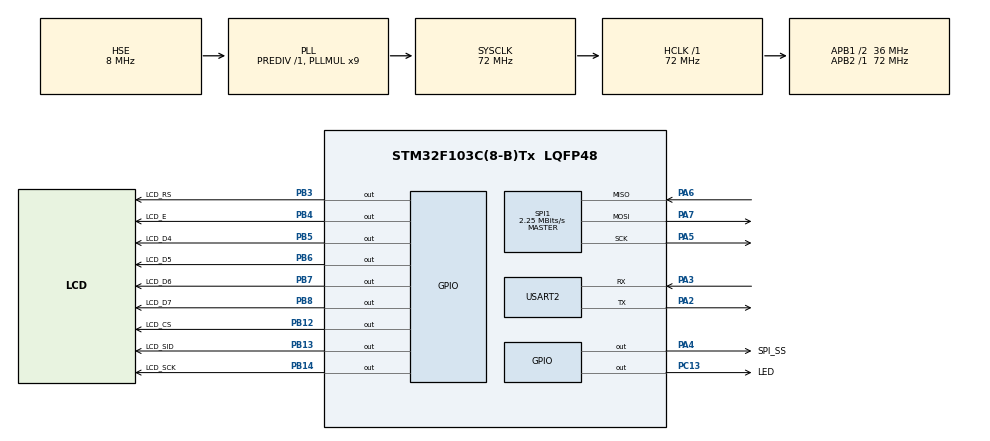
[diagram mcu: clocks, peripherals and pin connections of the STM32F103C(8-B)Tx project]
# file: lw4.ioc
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Dma.Request0=USART2_TX
Dma.Request1=USART2_RX
Dma.USART2_RX.1.Direction=DMA_PERIPH_TO_MEMORY
Dma.USART2_RX.1.Instance=DMA1_Channel6
Dma.USART2_RX.1.MemDataAlignment=DMA_MDATAALIGN_BYTE
Dma.USART2_RX.1.MemInc=DMA_MINC_ENABLE
Dma.USART2_RX.1.Mode=DMA_NORMAL
Dma.USART2_RX.1.PeriphDataAlignment=DMA_PDATAALIGN_BYTE
Dma.USART2_RX.1.PeriphInc=DMA_PINC_DISABLE
Dma.USART2_RX.1.Priority=DMA_PRIORITY_LOW
Dma.USART2_TX.0.Direction=DMA_MEMORY_TO_PERIPH
Dma.USART2_TX.0.Instance=DMA1_Channel7
Dma.USART2_TX.0.MemDataAlignment=DMA_MDATAALIGN_BYTE
Dma.USART2_TX.0.MemInc=DMA_MINC_ENABLE
Dma.USART2_TX.0.Mode=DMA_NORMAL
Dma.USART2_TX.0.PeriphDataAlignment=DMA_PDATAALIGN_BYTE
Dma.USART2_TX.0.PeriphInc=DMA_PINC_DISABLE
Dma.USART2_TX.0.Priority=DMA_PRIORITY_LOW
Mcu.Family=STM32F1
Mcu.Name=STM32F103C(8-B)Tx
Mcu.Package=LQFP48
NVIC.DMA1_Channel6_IRQn=true\:0\:0\:false\:false\:true\:false\:true\:true
NVIC.DMA1_Channel7_IRQn=true\:0\:0\:false\:false\:true\:false\:true\:true
NVIC.PriorityGroup=NVIC_PRIORITYGROUP_4
NVIC.USART2_IRQn=true\:0\:0\:false\:false\:true\:true\:true\:true
PA13.Mode=Serial_Wire
PA13.Signal=SYS_JTMS-SWDIO
PA14.Mode=Serial_Wire
PA14.Signal=SYS_JTCK-SWCLK
PA2.Mode=Asynchronous
PA2.Signal=USART2_TX
PA3.Mode=Asynchronous
PA3.Signal=USART2_RX
PA4.GPIO_Label=SPI_SS
PA4.Signal=GPIO_Output
PA5.Mode=Full_Duplex_Master
PA5.Signal=SPI1_SCK
PA6.Mode=Full_Duplex_Master
PA6.Signal=SPI1_MISO
PA7.Mode=Full_Duplex_Master
PA7.Signal=SPI1_MOSI
PB12.GPIO_Label=LCD_CS
PB12.Signal=GPIO_Output
PB13.GPIO_Label=LCD_SID
PB13.Signal=GPIO_Output
PB14.GPIO_Label=LCD_SCK
PB14.Signal=GPIO_Output
PB3.GPIO_Label=LCD_RS
PB3.Signal=GPIO_Output
PB4.GPIO_Label=LCD_E
PB4.Signal=GPIO_Output
PB5.GPIO_Label=LCD_D4
PB5.Signal=GPIO_Output
PB6.GPIO_Label=LCD_D5
PB6.Signal=GPIO_Output
PB7.GPIO_Label=LCD_D6
PB7.Signal=GPIO_Output
PB8.GPIO_Label=LCD_D7
PB8.Signal=GPIO_Output
PC13-TAMPER-RTC.GPIO_Label=LED
PC13-TAMPER-RTC.Signal=GPIO_Output
PD0-OSC_IN.Mode=HSE-External-Oscillator
PD0-OSC_IN.Signal=RCC_OSC_IN
PD1-OSC_OUT.Mode=HSE-External-Oscillator
PD1-OSC_OUT.Signal=RCC_OSC_OUT
ProjectManager.HeapSize=0x200
ProjectManager.StackSize=0x400
ProjectManager.TargetToolchain=Makefile
RCC.AHBFreq_Value=72000000
RCC.APB1CLKDivider=RCC_HCLK_DIV2
RCC.APB1Freq_Value=36000000
RCC.APB1TimFreq_Value=72000000
RCC.APB2Freq_Value=72000000
RCC.APB2TimFreq_Value=72000000
RCC.HCLKFreq_Value=72000000
RCC.PLLMUL=RCC_PLL_MUL9
RCC.PLLSourceVirtual=RCC_PLLSOURCE_HSE
RCC.SYSCLKFreq_VALUE=72000000
RCC.SYSCLKSource=RCC_SYSCLKSOURCE_PLLCLK
RCC.USBFreq_Value=72000000
SPI1.BaudRatePrescaler=SPI_BAUDRATEPRESCALER_32
SPI1.CalculateBaudRate=2.25 MBits/s
SPI1.Direction=SPI_DIRECTION_2LINES
SPI1.Mode=SPI_MODE_MASTER
SPI1.VirtualType=VM_MASTER
USART2.VirtualMode=VM_ASYNC
board=custom

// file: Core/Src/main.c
/* USER CODE BEGIN Header */
/**
 ******************************************************************************
 * @file           : main.c
 * @brief          : Main program body
 ******************************************************************************
 * @attention
 *
 * Copyright (c) 2026 STMicroelectronics.
 * All rights reserved.
 *
 * This software is licensed under terms that can be found in the LICENSE file
 * in the root directory of this software component.
 * If no LICENSE file comes with this software, it is provided AS-IS.
 *
 ******************************************************************************
 */
/* USER CODE END Header */
#include "main.h"

/* USER CODE BEGIN Includes */
// !!!
#include "lcdST7920.h" //#include "lcd.h" //////////////////////////////////////////////////////////////////////////////////////
#include "rc522.h"
#include "stdio.h"
/* USER CODE END Includes */

SPI_HandleTypeDef hspi1;

UART_HandleTypeDef huart2;
DMA_HandleTypeDef hdma_usart2_tx;
DMA_HandleTypeDef hdma_usart2_rx;

/* USER CODE BEGIN PV */
// !!!
uint8_t status;               // службова змінна
uint8_t str[MFRC522_MAX_LEN]; // змінна для обміну даними
uint8_t sn[4];                // серійний номер картки
char CardID[4*3+1];               // серійний номер картки (символьний)
char DataChar[2][24];         // дані для виводу на дисплей
uint8_t blockAddr;            // адреса блоку даних
// блок ключів А
uint8_t sectorKeyA[16][16] = {
    {0xFF, 0xFF, 0xFF, 0xFF, 0xFF, 0xFF},
    {0xFF, 0xFF, 0xFF, 0xFF, 0xFF, 0xFF},
    {0xFF, 0xFF, 0xFF, 0xFF, 0xFF, 0xFF},
    {0xFF, 0xFF, 0xFF, 0xFF, 0xFF, 0xFF},
};

uint8_t Data[MFRC522_MAX_LEN] = {0x00, 0x01, 0x02, 0x03, 0x04, 0x05,
0x06, 0x07, 0x08, 0x09, 0x0A, 0x0B, 0x0C, 0x0D, 0x0E, 0x0F};

uint8_t write_on = 1; // ознака дозволу на запис даних

const uint8_t snOn[4] = {0x67, 0xE9, 0x01, 0x68};
/* USER CODE END PV */

void SystemClock_Config(void);
static void MX_GPIO_Init(void);
static void MX_DMA_Init(void);
static void MX_USART2_UART_Init(void);
static void MX_SPI1_Init(void);

int main(void)
{

  /* MCU Configuration--------------------------------------------------------*/

  /* Reset of all peripherals, Initializes the Flash interface and the Systick. */
  HAL_Init();

  /* Configure the system clock */
  SystemClock_Config();

  /* Initialize all configured peripherals */
  MX_GPIO_Init();
  MX_DMA_Init();
  MX_USART2_UART_Init();
  MX_SPI1_Init();
  /* USER CODE BEGIN 2 */
  // !!!
  LCD_Init();

  /* USER CODE END 2 */

  /* Infinite loop */
  /* USER CODE BEGIN WHILE */

  /* USER CODE END PV */

  /* USER CODE BEGIN WHILE */
  while (1)
  {
    /* USER CODE END WHILE */
    /* USER CODE BEGIN 3 */
    // Старт пошуку картки
    MFRC522_Init();
    status = MI_ERR;
    // Перевірка присутності картки
    status = MFRC522_Request(PICC_REQIDL, str);
    HAL_GPIO_WritePin(GPIOC, GPIO_PIN_13, status != MI_OK);
    if (status != MI_OK)
    {

      HAL_GPIO_WritePin(GPIOC, GPIO_PIN_13, GPIO_PIN_SET);
      sprintf(CardID, "No card");
      LCD_Clear();
      LCD_String(CardID);
    }
    // Антиколізія, зчитування номера картки
    status = MFRC522_Anticoll(sn);
    if (status == MI_OK) // якщо є зв'язок з карткою
    {
      sprintf(CardID, "%X %X %X %X", sn[0], sn[1], sn[2], sn[3]);
      LCD_Clear();
      LCD_String(CardID);
      for (int i = 0; i < 4; i++){
        if (sn[i] != snOn[i]) break;
        if (i == 3)           LCD_String(" +");
      }
      HAL_Delay(500);
    }
    // Вибір картки
    MFRC522_SelectTag(sn);
    // Якщо запис дозволено
    if (write_on)
    {
      // Авторизація для запису
      blockAddr = 3; // звернення до блоку 3 для авторизації в секторі 0
      status = MFRC522_Auth(PICC_AUTHENT1A, blockAddr, sectorKeyA[0], sn);
      if (status == MI_OK)
      {
        // Запис даних до блоку 1
        blockAddr = 1;
        status = MFRC522_Write(blockAddr, Data);
        if (status == MI_OK){
          sprintf(DataChar[0], "Success!");
          write_on = 0; // заборонити наступний запис
        }else{
          sprintf(DataChar[0], "Fail");
        }
        LCD_Clear();
        LCD_String(DataChar[0]);
        HAL_Delay(500);
      }
    }
    // Авторизація для читання
    blockAddr = 3; // звернення до блоку 3 для авторизації в секторі 0
    status = MFRC522_Auth(PICC_AUTHENT1A, blockAddr, sectorKeyA[0], sn);
    if (status == MI_OK)
    {
      // Зчитування даних з блоку 1
      blockAddr = 1;
      status = MFRC522_Read(blockAddr, str);
      if (status == MI_OK)
      {
        sprintf(DataChar[0], "%02X%02X%02X%02X%02X%02X%02X%02X",
                str[0], str[1], str[2], str[3], str[4], str[5], str[6], str[7]);
        sprintf(DataChar[1], "%02X%02X%02X%02X%02X%02X%02X%02X",
                str[8], str[9], str[10], str[11], str[12], str[13], str[14], str[15]);
        LCD_Clear();
        LCD_String(DataChar[0]);
        LCD_SetPos(0, 1);
        LCD_String(DataChar[1]);
      }
    }
    // else
    // {
    //   LCD_Clear();
    //   LCD_String(DataChar[0]);
    //   LCD_SetPos(0, 1);
    //   LCD_String(DataChar[1]);
    // }
    // Завершення циклу опитування картки
    // Переведення рідера до режиму сну
    MFRC522_Halt();
    // Вимкнення антени
    MFRC522_AntennaOff();
    HAL_Delay(500);
  }

  /* USER CODE END 3 */
  /* USER CODE END 3 */
}

void SystemClock_Config(void)
{
  RCC_OscInitTypeDef RCC_OscInitStruct = {0};
  RCC_ClkInitTypeDef RCC_ClkInitStruct = {0};

  /** Initializes the RCC Oscillators according to the specified parameters
   * in the RCC_OscInitTypeDef structure.
   */
  RCC_OscInitStruct.OscillatorType = RCC_OSCILLATORTYPE_HSE;
  RCC_OscInitStruct.HSEState = RCC_HSE_ON;
  RCC_OscInitStruct.HSEPredivValue = RCC_HSE_PREDIV_DIV1;
  RCC_OscInitStruct.HSIState = RCC_HSI_ON;
  RCC_OscInitStruct.PLL.PLLState = RCC_PLL_ON;
  RCC_OscInitStruct.PLL.PLLSource = RCC_PLLSOURCE_HSE;
  RCC_OscInitStruct.PLL.PLLMUL = RCC_PLL_MUL9;
  if (HAL_RCC_OscConfig(&RCC_OscInitStruct) != HAL_OK)
  {
    Error_Handler();
  }

  /** Initializes the CPU, AHB and APB buses clocks
   */
  RCC_ClkInitStruct.ClockType = RCC_CLOCKTYPE_HCLK | RCC_CLOCKTYPE_SYSCLK | RCC_CLOCKTYPE_PCLK1 | RCC_CLOCKTYPE_PCLK2;
  RCC_ClkInitStruct.SYSCLKSource = RCC_SYSCLKSOURCE_PLLCLK;
  RCC_ClkInitStruct.AHBCLKDivider = RCC_SYSCLK_DIV1;
  RCC_ClkInitStruct.APB1CLKDivider = RCC_HCLK_DIV2;
  RCC_ClkInitStruct.APB2CLKDivider = RCC_HCLK_DIV1;

  if (HAL_RCC_ClockConfig(&RCC_ClkInitStruct, FLASH_LATENCY_2) != HAL_OK)
  {
    Error_Handler();
  }
}

static void MX_SPI1_Init(void)
{

  /* SPI1 parameter configuration*/
  hspi1.Instance = SPI1;
  hspi1.Init.Mode = SPI_MODE_MASTER;
  hspi1.Init.Direction = SPI_DIRECTION_2LINES;
  hspi1.Init.DataSize = SPI_DATASIZE_8BIT;
  hspi1.Init.CLKPolarity = SPI_POLARITY_LOW;
  hspi1.Init.CLKPhase = SPI_PHASE_1EDGE;
  hspi1.Init.NSS = SPI_NSS_SOFT;
  hspi1.Init.BaudRatePrescaler = SPI_BAUDRATEPRESCALER_32;
  hspi1.Init.FirstBit = SPI_FIRSTBIT_MSB;
  hspi1.Init.TIMode = SPI_TIMODE_DISABLE;
  hspi1.Init.CRCCalculation = SPI_CRCCALCULATION_DISABLE;
  hspi1.Init.CRCPolynomial = 10;
  if (HAL_SPI_Init(&hspi1) != HAL_OK)
  {
    Error_Handler();
  }
}

static void MX_USART2_UART_Init(void)
{

  huart2.Instance = USART2;
  huart2.Init.BaudRate = 115200;
  huart2.Init.WordLength = UART_WORDLENGTH_8B;
  huart2.Init.StopBits = UART_STOPBITS_1;
  huart2.Init.Parity = UART_PARITY_NONE;
  huart2.Init.Mode = UART_MODE_TX_RX;
  huart2.Init.HwFlowCtl = UART_HWCONTROL_NONE;
  huart2.Init.OverSampling = UART_OVERSAMPLING_16;
  if (HAL_UART_Init(&huart2) != HAL_OK)
  {
    Error_Handler();
  }
}

static void MX_DMA_Init(void)
{

  /* DMA controller clock enable */
  __HAL_RCC_DMA1_CLK_ENABLE();

  /* DMA interrupt init */
  /* DMA1_Channel6_IRQn interrupt configuration */
  HAL_NVIC_SetPriority(DMA1_Channel6_IRQn, 0, 0);
  HAL_NVIC_EnableIRQ(DMA1_Channel6_IRQn);
  /* DMA1_Channel7_IRQn interrupt configuration */
  HAL_NVIC_SetPriority(DMA1_Channel7_IRQn, 0, 0);
  HAL_NVIC_EnableIRQ(DMA1_Channel7_IRQn);
}

static void MX_GPIO_Init(void)
{
  GPIO_InitTypeDef GPIO_InitStruct = {0};

  /* GPIO Ports Clock Enable */
  __HAL_RCC_GPIOC_CLK_ENABLE();
  __HAL_RCC_GPIOD_CLK_ENABLE();
  __HAL_RCC_GPIOA_CLK_ENABLE();
  __HAL_RCC_GPIOB_CLK_ENABLE();

  /*Configure GPIO pin Output Level */
  HAL_GPIO_WritePin(LED_GPIO_Port, LED_Pin, GPIO_PIN_RESET);

  /*Configure GPIO pin Output Level */
  HAL_GPIO_WritePin(SPI_SS_GPIO_Port, SPI_SS_Pin, GPIO_PIN_RESET);

  /*Configure GPIO pin Output Level */
  HAL_GPIO_WritePin(GPIOB, LCD_CS_Pin | LCD_SID_Pin | LCD_SCK_Pin | LCD_RS_Pin | LCD_E_Pin | LCD_D4_Pin | LCD_D5_Pin | LCD_D6_Pin | LCD_D7_Pin, GPIO_PIN_RESET);

  /*Configure GPIO pin : LED_Pin */
  GPIO_InitStruct.Pin = LED_Pin;
  GPIO_InitStruct.Mode = GPIO_MODE_OUTPUT_PP;
  GPIO_InitStruct.Pull = GPIO_NOPULL;
  GPIO_InitStruct.Speed = GPIO_SPEED_FREQ_LOW;
  HAL_GPIO_Init(LED_GPIO_Port, &GPIO_InitStruct);

  /*Configure GPIO pin : SPI_SS_Pin */
  GPIO_InitStruct.Pin = SPI_SS_Pin;
  GPIO_InitStruct.Mode = GPIO_MODE_OUTPUT_PP;
  GPIO_InitStruct.Pull = GPIO_NOPULL;
  GPIO_InitStruct.Speed = GPIO_SPEED_FREQ_LOW;
  HAL_GPIO_Init(SPI_SS_GPIO_Port, &GPIO_InitStruct);

  /*Configure GPIO pins : LCD_CS_Pin LCD_SID_Pin LCD_SCK_Pin LCD_RS_Pin
                           LCD_E_Pin LCD_D4_Pin LCD_D5_Pin LCD_D6_Pin
                           LCD_D7_Pin */
  GPIO_InitStruct.Pin = LCD_CS_Pin | LCD_SID_Pin | LCD_SCK_Pin | LCD_RS_Pin | LCD_E_Pin | LCD_D4_Pin | LCD_D5_Pin | LCD_D6_Pin | LCD_D7_Pin;
  GPIO_InitStruct.Mode = GPIO_MODE_OUTPUT_PP;
  GPIO_InitStruct.Pull = GPIO_NOPULL;
  GPIO_InitStruct.Speed = GPIO_SPEED_FREQ_LOW;
  HAL_GPIO_Init(GPIOB, &GPIO_InitStruct);

}

void Error_Handler(void)
{
  __disable_irq();
  while (1)
  {
  }
}
